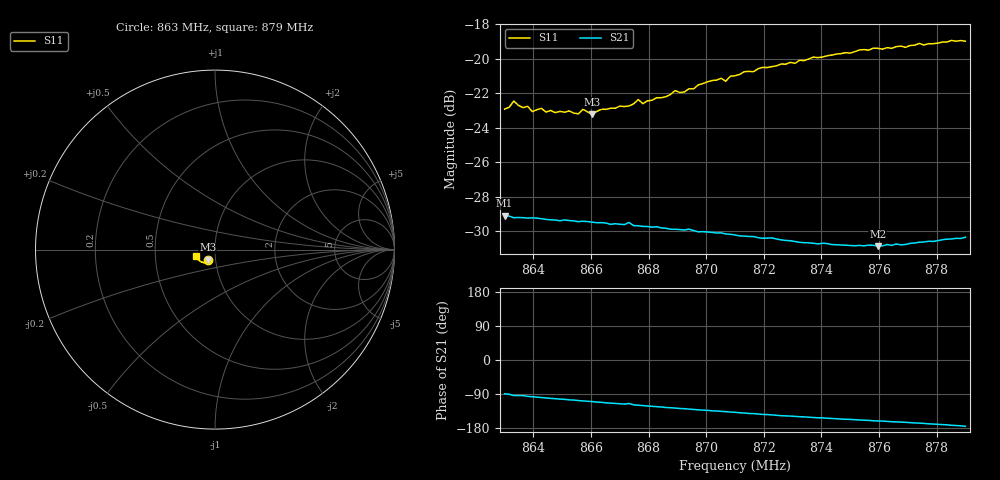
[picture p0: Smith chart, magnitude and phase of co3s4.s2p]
# HZ S RI R 50
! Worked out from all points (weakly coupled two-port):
!   101 points, 863 MHz to 879 MHz, reference 50 ohm
!   highest |S21| = -29.10 dB at 863 MHz (marker M1); lowest = -30.9 dB at 875.96 MHz (marker M2)
!   lowest |S11| = -23.2 dB at 866.04 MHz (marker M3), VSWR 1.15, Z = 45.8 - j5.15 ohm
!   |S11| at or under -10 dB: start of sweep to end of sweep
!   S12 and S22 are empty: the file has one direction only
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8.63e8  -0.0399 -0.0593  0.000532 -0.0351  0 0  0 0
8.6332e8  -0.0481 -0.058  -0.00231 -0.0345  0 0  0 0
8.6396e8  -0.0424 -0.0561  -0.00421 -0.0343  0 0  0 0
8.6428e8  -0.0421 -0.0581  -0.00546 -0.0339  0 0  0 0
8.6444e8  -0.041 -0.0568  -0.00598 -0.0337  0 0  0 0
8.6556e8  -0.0387 -0.0574  -0.00992 -0.0322  0 0  0 0
8.6572e8  -0.0396 -0.0593  -0.0104 -0.0322  0 0  0 0
8.6604e8  -0.0404 -0.0559  -0.0113 -0.0316  0 0  0 0
8.6636e8  -0.0382 -0.0603  -0.0124 -0.0311  0 0  0 0
8.6732e8  -0.0352 -0.0639  -0.014 -0.0305  0 0  0 0
8.6764e8  -0.0392 -0.0653  -0.0161 -0.0286  0 0  0 0
8.678e8  -0.0382 -0.0635  -0.0165 -0.0282  0 0  0 0
8.6844e8  -0.04 -0.0659  -0.0181 -0.0268  0 0  0 0
8.6892e8  -0.042 -0.0691  -0.0192 -0.0257  0 0  0 0
8.6924e8  -0.0421 -0.0681  -0.0198 -0.025  0 0  0 0
8.7004e8  -0.0464 -0.072  -0.0214 -0.0231  0 0  0 0
8.7068e8  -0.0478 -0.0715  -0.0225 -0.0214  0 0  0 0
8.71e8  -0.0518 -0.0727  -0.0229 -0.0206  0 0  0 0
8.7372e8  -0.0721 -0.0708  -0.0257 -0.0138  0 0  0 0
8.7596e8  -0.0881 -0.0611  -0.027 -0.00939  0 0  0 0
8.7644e8  -0.0909 -0.0567  -0.0275 -0.00848  0 0  0 0
8.79e8  -0.1062 -0.0369  -0.0303 -0.00269  0 0  0 0
